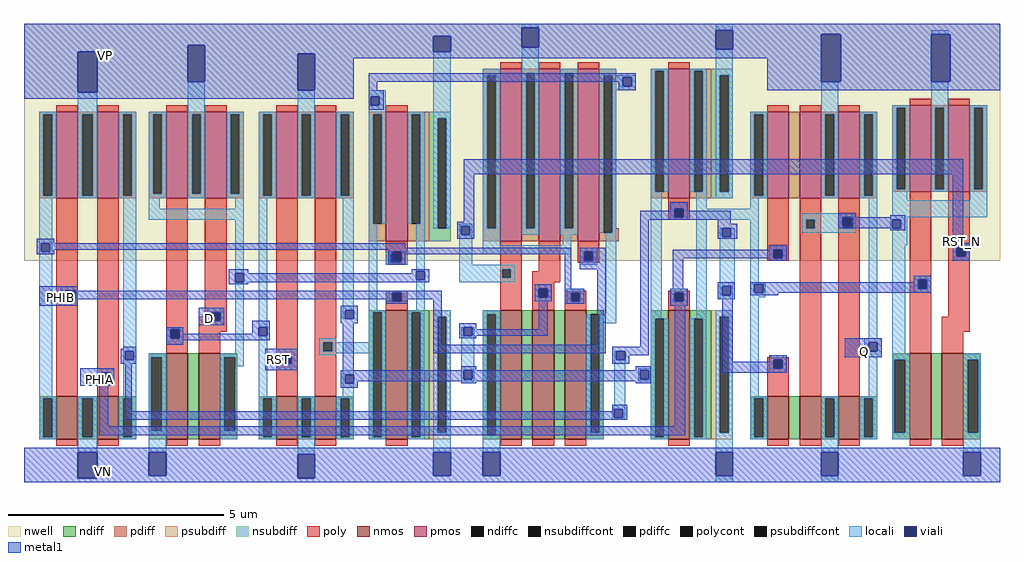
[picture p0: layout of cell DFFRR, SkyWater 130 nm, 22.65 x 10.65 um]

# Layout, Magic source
magic
tech sky130A
<< nwell >>
rect -500 215 1765 765
<< nmos >>
rect -425 -200 -375 -100
rect -330 -200 -280 -100
rect -170 -200 -120 0
rect -95 -200 -45 0
rect 85 -200 135 -100
rect 175 -200 225 -100
rect 340 -200 390 100
rect 605 -200 655 100
rect 680 -200 730 100
rect 755 -200 805 100
rect 995 -200 1045 100
rect 1225 -200 1275 -100
rect 1300 -200 1350 -100
rect 1390 -200 1440 -100
rect 1555 -200 1605 0
rect 1630 -200 1680 0
<< pmos >>
rect -425 360 -375 560
rect -330 360 -280 560
rect -170 360 -120 560
rect -80 360 -30 560
rect 85 360 135 560
rect 175 360 225 560
rect 340 260 390 560
rect 605 260 655 660
rect 695 260 745 660
rect 785 260 835 660
rect 995 360 1045 660
rect 1225 360 1275 560
rect 1300 360 1350 560
rect 1390 360 1440 560
rect 1555 375 1605 575
rect 1645 375 1695 575
<< ndiff >>
rect -210 -10 -170 0
rect -465 -105 -425 -100
rect -465 -195 -455 -105
rect -435 -195 -425 -105
rect -465 -200 -425 -195
rect -375 -105 -330 -100
rect -375 -195 -365 -105
rect -340 -195 -330 -105
rect -375 -200 -330 -195
rect -280 -105 -240 -100
rect -280 -195 -270 -105
rect -250 -195 -240 -105
rect -280 -200 -240 -195
rect -210 -180 -205 -10
rect -180 -180 -170 -10
rect -210 -200 -170 -180
rect -120 -200 -95 0
rect -45 -10 -5 0
rect -45 -180 -35 -10
rect -10 -180 -5 -10
rect 300 95 340 100
rect -45 -200 -5 -180
rect 45 -105 85 -100
rect 45 -195 55 -105
rect 75 -195 85 -105
rect 45 -200 85 -195
rect 135 -105 175 -100
rect 135 -195 145 -105
rect 165 -195 175 -105
rect 135 -200 175 -195
rect 225 -105 265 -100
rect 225 -195 235 -105
rect 255 -195 265 -105
rect 225 -200 265 -195
rect 300 -195 310 95
rect 330 -195 340 95
rect 300 -200 340 -195
rect 390 95 440 100
rect 390 -195 400 95
rect 420 -195 440 95
rect 390 -200 440 -195
rect 565 90 605 100
rect 565 -190 575 90
rect 595 -190 605 90
rect 565 -200 605 -190
rect 655 -200 680 100
rect 730 -200 755 100
rect 805 90 845 100
rect 805 -185 815 90
rect 835 -185 845 90
rect 805 -200 845 -185
rect 955 80 995 100
rect 955 -195 965 80
rect 985 -195 995 80
rect 955 -200 995 -195
rect 1045 80 1095 100
rect 1045 -195 1055 80
rect 1075 -195 1095 80
rect 1515 -15 1555 0
rect 1045 -200 1095 -195
rect 1185 -105 1225 -100
rect 1185 -195 1195 -105
rect 1215 -195 1225 -105
rect 1185 -200 1225 -195
rect 1275 -200 1300 -100
rect 1350 -105 1390 -100
rect 1350 -195 1360 -105
rect 1380 -195 1390 -105
rect 1350 -200 1390 -195
rect 1440 -105 1480 -100
rect 1440 -195 1450 -105
rect 1470 -195 1480 -105
rect 1440 -200 1480 -195
rect 1515 -185 1520 -15
rect 1545 -185 1555 -15
rect 1515 -200 1555 -185
rect 1605 -200 1630 0
rect 1680 -15 1720 0
rect 1680 -185 1690 -15
rect 1715 -185 1720 -15
rect 1680 -200 1720 -185
<< pdiff >>
rect 565 645 605 660
rect -465 555 -425 560
rect -465 365 -455 555
rect -435 365 -425 555
rect -465 360 -425 365
rect -375 555 -330 560
rect -375 365 -365 555
rect -340 365 -330 555
rect -375 360 -330 365
rect -280 555 -240 560
rect -280 365 -270 555
rect -250 365 -240 555
rect -280 360 -240 365
rect -210 555 -170 560
rect -210 370 -200 555
rect -180 370 -170 555
rect -210 360 -170 370
rect -120 555 -80 560
rect -120 370 -110 555
rect -90 370 -80 555
rect -120 360 -80 370
rect -30 555 10 560
rect -30 370 -20 555
rect 0 370 10 555
rect -30 360 10 370
rect 45 555 85 560
rect 45 365 55 555
rect 75 365 85 555
rect 45 360 85 365
rect 135 555 175 560
rect 135 365 145 555
rect 165 365 175 555
rect 135 360 175 365
rect 225 555 265 560
rect 225 365 235 555
rect 255 365 265 555
rect 225 360 265 365
rect 300 555 340 560
rect 300 300 310 555
rect 330 300 340 555
rect 300 260 340 300
rect 390 555 440 560
rect 390 300 400 555
rect 420 300 440 555
rect 390 260 440 300
rect 565 290 575 645
rect 595 290 605 645
rect 565 260 605 290
rect 655 650 695 660
rect 655 290 665 650
rect 685 290 695 650
rect 655 260 695 290
rect 745 650 785 660
rect 745 290 755 650
rect 775 290 785 650
rect 745 260 785 290
rect 835 645 875 660
rect 835 280 845 645
rect 865 290 875 645
rect 955 655 995 660
rect 955 375 965 655
rect 985 375 995 655
rect 955 360 995 375
rect 1045 655 1095 660
rect 1045 375 1055 655
rect 1075 375 1095 655
rect 1515 570 1555 575
rect 1045 360 1095 375
rect 1185 555 1225 560
rect 1185 365 1195 555
rect 1215 365 1225 555
rect 1185 360 1225 365
rect 1275 360 1300 560
rect 1350 555 1390 560
rect 1350 365 1360 555
rect 1380 365 1390 555
rect 1350 360 1390 365
rect 1440 555 1480 560
rect 1440 365 1450 555
rect 1470 365 1480 555
rect 1515 380 1525 570
rect 1545 380 1555 570
rect 1515 375 1555 380
rect 1605 570 1645 575
rect 1605 380 1615 570
rect 1635 380 1645 570
rect 1605 375 1645 380
rect 1695 570 1735 575
rect 1695 380 1705 570
rect 1725 380 1735 570
rect 1695 375 1735 380
rect 1440 360 1480 365
rect 865 280 880 290
rect 835 260 880 280
<< ndiffc >>
rect -455 -195 -435 -105
rect -365 -195 -340 -105
rect -270 -195 -250 -105
rect -205 -180 -180 -10
rect -35 -180 -10 -10
rect 55 -195 75 -105
rect 145 -195 165 -105
rect 235 -195 255 -105
rect 310 -195 330 95
rect 400 -195 420 95
rect 575 -190 595 90
rect 815 -185 835 90
rect 965 -195 985 80
rect 1055 -195 1075 80
rect 1195 -195 1215 -105
rect 1360 -195 1380 -105
rect 1450 -195 1470 -105
rect 1520 -185 1545 -15
rect 1690 -185 1715 -15
<< pdiffc >>
rect -455 365 -435 555
rect -365 365 -340 555
rect -270 365 -250 555
rect -200 370 -180 555
rect -110 370 -90 555
rect -20 370 0 555
rect 55 365 75 555
rect 145 365 165 555
rect 235 365 255 555
rect 310 300 330 555
rect 400 300 420 555
rect 575 290 595 645
rect 665 290 685 650
rect 755 290 775 650
rect 845 280 865 645
rect 965 375 985 655
rect 1055 375 1075 655
rect 1195 365 1215 555
rect 1360 365 1380 555
rect 1450 365 1470 555
rect 1525 380 1545 570
rect 1615 380 1635 570
rect 1705 380 1725 570
<< psubdiff >>
rect 440 85 490 100
rect 440 -185 460 85
rect 480 -185 490 85
rect 440 -200 490 -185
rect 1095 85 1145 100
rect 1095 -185 1115 85
rect 1135 -185 1145 85
rect 1095 -200 1145 -185
<< nsubdiff >>
rect 440 545 490 560
rect 440 290 460 545
rect 480 290 490 545
rect 440 260 490 290
rect 1095 645 1145 660
rect 1095 375 1115 645
rect 1135 375 1145 645
rect 1095 360 1145 375
<< psubdiffcont >>
rect 460 -185 480 85
rect 1115 -185 1135 85
<< nsubdiffcont >>
rect 460 290 480 545
rect 1115 375 1135 645
<< poly >>
rect 605 660 655 675
rect 695 660 745 675
rect 785 660 835 675
rect 995 660 1045 675
rect -425 560 -375 575
rect -330 560 -280 575
rect -170 560 -120 575
rect -80 560 -30 575
rect 85 560 135 575
rect 175 560 225 575
rect 340 560 390 575
rect -425 145 -375 360
rect -425 120 -405 145
rect -380 120 -375 145
rect -425 -100 -375 120
rect -330 -45 -280 360
rect -170 55 -120 360
rect -80 95 -30 360
rect -80 85 -65 95
rect -170 35 -160 55
rect -140 35 -120 55
rect -170 0 -120 35
rect -95 75 -65 85
rect -45 75 -30 95
rect -95 50 -30 75
rect -95 0 -45 50
rect -330 -66 -319 -45
rect -299 -66 -280 -45
rect -330 -100 -280 -66
rect 85 -5 135 360
rect 85 -25 100 -5
rect 120 -25 135 -5
rect 85 -100 135 -25
rect 175 25 225 360
rect 1555 575 1605 590
rect 1645 575 1695 590
rect 1225 560 1275 575
rect 1300 560 1350 575
rect 1390 560 1440 575
rect 995 335 1045 360
rect 995 315 1010 335
rect 1030 315 1045 335
rect 995 310 1045 315
rect 340 230 390 260
rect 340 210 350 230
rect 375 210 390 230
rect 340 205 390 210
rect 605 195 655 260
rect 605 175 610 195
rect 630 175 655 195
rect 695 190 745 260
rect 785 235 835 260
rect 785 215 800 235
rect 820 215 835 235
rect 1225 240 1275 360
rect 1225 220 1240 240
rect 1260 220 1275 240
rect 1225 215 1275 220
rect 1300 310 1350 360
rect 1300 290 1315 310
rect 1335 290 1350 310
rect 785 210 835 215
rect 340 140 390 145
rect 340 120 355 140
rect 375 120 390 140
rect 340 100 390 120
rect 605 100 655 175
rect 680 165 745 190
rect 680 150 730 165
rect 680 130 695 150
rect 715 130 730 150
rect 680 100 730 130
rect 755 140 805 145
rect 755 120 770 140
rect 790 120 805 140
rect 755 100 805 120
rect 995 140 1045 145
rect 995 120 1010 140
rect 1030 120 1045 140
rect 995 100 1045 120
rect 175 5 195 25
rect 215 5 225 25
rect 175 -100 225 5
rect 1225 -15 1275 -10
rect 1225 -35 1240 -15
rect 1260 -35 1275 -15
rect 1225 -100 1275 -35
rect 1300 -100 1350 290
rect 1390 315 1440 360
rect 1390 290 1400 315
rect 1425 290 1440 315
rect 1390 -100 1440 290
rect 1555 170 1605 375
rect 1555 150 1575 170
rect 1595 150 1605 170
rect 1555 0 1605 150
rect 1645 245 1695 375
rect 1645 225 1665 245
rect 1685 225 1695 245
rect 1645 85 1695 225
rect 1630 50 1695 85
rect 1630 0 1680 50
rect -425 -215 -375 -200
rect -330 -215 -280 -200
rect -170 -215 -120 -200
rect -95 -215 -45 -200
rect 85 -215 135 -200
rect 175 -215 225 -200
rect 340 -215 390 -200
rect 605 -215 655 -200
rect 680 -215 730 -200
rect 755 -215 805 -200
rect 995 -215 1045 -200
rect 1225 -215 1275 -200
rect 1300 -215 1350 -200
rect 1390 -215 1440 -200
rect 1555 -215 1605 -200
rect 1630 -215 1680 -200
<< polycont >>
rect -405 120 -380 145
rect -160 35 -140 55
rect -65 75 -45 95
rect -319 -66 -299 -45
rect 100 -25 120 -5
rect 1010 315 1030 335
rect 350 210 375 230
rect 610 175 630 195
rect 800 215 820 235
rect 1240 220 1260 240
rect 1315 290 1335 310
rect 355 120 375 140
rect 695 130 715 150
rect 770 120 790 140
rect 1010 120 1030 140
rect 195 5 215 25
rect 1240 -35 1260 -15
rect 1400 290 1425 315
rect 1575 150 1595 170
rect 1665 225 1685 245
<< locali >>
rect 655 755 695 765
rect -465 555 -425 560
rect -465 365 -455 555
rect -435 365 -425 555
rect -465 360 -425 365
rect -375 555 -330 605
rect -375 365 -365 555
rect -340 365 -330 555
rect -375 360 -330 365
rect -280 555 -240 560
rect -280 365 -270 555
rect -250 365 -240 555
rect -280 360 -240 365
rect -465 255 -435 360
rect -465 235 -460 255
rect -440 235 -435 255
rect -465 -100 -435 235
rect -415 145 -375 155
rect -415 120 -405 145
rect -380 120 -375 145
rect -415 110 -375 120
rect -270 5 -240 360
rect -210 555 -170 560
rect -210 370 -200 555
rect -180 370 -170 555
rect -210 360 -170 370
rect -120 555 -80 630
rect -120 370 -110 555
rect -90 370 -80 555
rect -120 360 -80 370
rect -30 555 10 560
rect -30 370 -20 555
rect 0 370 10 555
rect -30 360 10 370
rect -210 335 -185 360
rect -10 335 10 360
rect -210 310 10 335
rect -10 185 10 310
rect -75 95 -35 105
rect -75 75 -65 95
rect -45 75 -35 95
rect -75 65 -35 75
rect -170 55 -130 60
rect -170 35 -160 55
rect -140 35 -130 55
rect -170 20 -130 35
rect -270 -15 -265 5
rect -245 -15 -240 5
rect -10 0 10 165
rect -330 -45 -290 -35
rect -330 -65 -320 -45
rect -330 -66 -319 -65
rect -299 -66 -290 -45
rect -330 -75 -290 -66
rect -270 -100 -240 -15
rect -465 -105 -425 -100
rect -465 -195 -455 -105
rect -435 -195 -425 -105
rect -465 -200 -425 -195
rect -375 -105 -330 -100
rect -375 -195 -365 -105
rect -340 -195 -330 -105
rect -375 -230 -330 -195
rect -280 -105 -240 -100
rect -280 -195 -270 -105
rect -250 -195 -240 -105
rect -280 -200 -240 -195
rect -210 -10 -170 0
rect -210 -180 -205 -10
rect -180 -180 -170 -10
rect -210 -230 -170 -180
rect -45 -10 10 0
rect -45 -180 -35 -10
rect -10 -30 10 -10
rect 45 555 85 560
rect 45 365 55 555
rect 75 365 85 555
rect 45 360 85 365
rect 135 555 175 610
rect 300 595 340 610
rect 300 575 305 595
rect 325 575 340 595
rect 135 365 145 555
rect 165 365 175 555
rect 135 360 175 365
rect 225 555 265 560
rect 225 365 235 555
rect 255 365 265 555
rect 225 360 265 365
rect 45 60 65 360
rect 240 100 265 360
rect 240 80 245 100
rect 300 555 340 575
rect 300 300 310 555
rect 330 300 340 555
rect 390 555 430 560
rect 390 300 400 555
rect 420 300 430 555
rect 300 100 320 300
rect 340 230 355 235
rect 340 210 350 230
rect 375 210 390 235
rect 340 205 390 210
rect 410 190 430 300
rect 450 545 490 700
rect 450 290 460 545
rect 480 290 490 545
rect 565 645 605 660
rect 510 295 540 300
rect 340 140 390 145
rect 340 120 355 140
rect 375 120 390 140
rect 410 100 430 170
rect 510 275 515 295
rect 535 275 540 295
rect 510 205 540 275
rect 565 290 575 645
rect 595 290 605 645
rect 565 250 605 290
rect 655 650 695 710
rect 1105 750 1145 765
rect 1605 740 1645 750
rect 655 290 665 650
rect 685 290 695 650
rect 655 275 695 290
rect 745 650 785 660
rect 745 290 755 650
rect 775 290 785 650
rect 745 275 785 290
rect 835 645 875 660
rect 955 655 995 660
rect 835 280 845 645
rect 865 640 920 645
rect 865 620 890 640
rect 910 620 920 640
rect 865 610 920 620
rect 865 280 875 610
rect 750 250 770 275
rect 565 230 770 250
rect 790 235 830 245
rect 790 215 800 235
rect 820 215 830 235
rect 790 205 830 215
rect 510 195 640 205
rect 510 175 610 195
rect 630 175 640 195
rect 510 165 640 175
rect 685 150 725 160
rect 685 130 695 150
rect 715 130 725 150
rect 685 120 725 130
rect 760 140 800 150
rect 760 120 770 140
rect 790 120 800 140
rect 760 115 800 120
rect 300 95 340 100
rect -10 -180 -5 -30
rect -45 -200 -5 -180
rect 45 -100 65 40
rect 185 25 225 35
rect 300 25 310 95
rect 85 -5 135 10
rect 185 5 195 25
rect 215 5 310 25
rect 185 0 310 5
rect 185 -5 225 0
rect 85 -25 100 -5
rect 120 -25 135 -5
rect 85 -40 135 -25
rect 240 -50 265 -40
rect 240 -70 245 -50
rect 240 -100 265 -70
rect 45 -105 85 -100
rect 45 -195 55 -105
rect 75 -195 85 -105
rect 45 -200 85 -195
rect 135 -105 175 -100
rect 135 -195 145 -105
rect 165 -195 175 -105
rect 135 -235 175 -195
rect 225 -105 265 -100
rect 225 -195 235 -105
rect 255 -195 265 -105
rect 225 -200 265 -195
rect 300 -195 310 0
rect 330 -195 340 95
rect 300 -200 340 -195
rect 390 95 430 100
rect 390 -195 400 95
rect 420 -195 430 95
rect 390 -200 430 -195
rect 450 85 490 100
rect 450 -185 460 85
rect 480 -185 490 85
rect 565 90 605 100
rect 850 90 875 280
rect 515 40 520 60
rect 540 40 545 60
rect 515 -40 545 40
rect 515 -60 520 -40
rect 540 -60 545 -40
rect 515 -65 545 -60
rect 450 -230 490 -185
rect 565 -190 575 90
rect 595 -190 605 90
rect 565 -230 605 -190
rect 805 -185 815 90
rect 835 70 875 90
rect 955 375 965 655
rect 985 375 995 655
rect 1045 655 1085 660
rect 1045 375 1055 655
rect 1075 375 1085 655
rect 955 80 980 375
rect 1000 335 1040 350
rect 1000 315 1010 335
rect 1030 315 1040 335
rect 1000 310 1040 315
rect 1060 335 1085 375
rect 1105 645 1145 705
rect 1105 375 1115 645
rect 1135 375 1145 645
rect 1105 360 1145 375
rect 1185 555 1225 560
rect 1185 365 1195 555
rect 1215 365 1225 555
rect 1185 360 1225 365
rect 1350 555 1390 630
rect 1515 570 1555 575
rect 1350 365 1360 555
rect 1380 365 1390 555
rect 1350 360 1390 365
rect 1440 555 1480 560
rect 1440 365 1450 555
rect 1470 365 1480 555
rect 1440 360 1480 365
rect 1185 335 1205 360
rect 1060 310 1205 335
rect 1000 140 1040 150
rect 1000 120 1010 140
rect 1030 120 1040 140
rect 1000 110 1040 120
rect 1060 80 1085 310
rect 1115 270 1120 290
rect 1140 270 1150 290
rect 1115 160 1150 270
rect 1185 165 1205 310
rect 1305 315 1430 325
rect 1305 310 1400 315
rect 1305 290 1315 310
rect 1335 290 1400 310
rect 1425 290 1430 315
rect 1305 280 1430 290
rect 1230 240 1270 250
rect 1230 220 1240 240
rect 1260 220 1270 240
rect 1230 215 1270 220
rect 1185 160 1220 165
rect 1115 155 1145 160
rect 1115 135 1120 155
rect 1140 135 1145 155
rect 1115 125 1145 135
rect 1185 140 1195 160
rect 1215 140 1220 160
rect 1185 130 1220 140
rect 835 -185 845 70
rect 870 -15 875 5
rect 870 -125 895 -15
rect 955 -35 965 80
rect 925 -40 965 -35
rect 925 -60 930 -40
rect 950 -60 965 -40
rect 925 -65 965 -60
rect 865 -130 895 -125
rect 865 -150 870 -130
rect 890 -150 895 -130
rect 865 -155 895 -150
rect 805 -200 845 -185
rect 955 -195 965 -65
rect 985 -195 995 80
rect 955 -200 995 -195
rect 1045 -195 1055 80
rect 1075 -195 1085 80
rect 1045 -200 1085 -195
rect 1105 85 1145 100
rect 1105 -185 1115 85
rect 1135 -185 1145 85
rect 1105 -230 1145 -185
rect 1185 -100 1205 130
rect 1460 35 1480 360
rect 1515 380 1525 570
rect 1545 380 1555 570
rect 1515 375 1555 380
rect 1605 570 1645 630
rect 1605 380 1615 570
rect 1635 380 1645 570
rect 1605 375 1645 380
rect 1695 570 1735 575
rect 1695 380 1705 570
rect 1725 380 1735 570
rect 1515 355 1550 375
rect 1695 355 1735 380
rect 1515 320 1735 355
rect 1510 315 1735 320
rect 1510 310 1550 315
rect 1510 290 1515 310
rect 1535 290 1550 310
rect 1510 285 1550 290
rect 1515 250 1550 285
rect 1450 25 1490 35
rect 1450 5 1460 25
rect 1480 5 1490 25
rect 1230 -15 1270 -5
rect 1450 -10 1490 5
rect 1515 0 1545 250
rect 1655 245 1695 255
rect 1655 225 1665 245
rect 1685 225 1695 245
rect 1655 215 1695 225
rect 1565 170 1605 180
rect 1565 150 1575 170
rect 1595 150 1605 170
rect 1565 140 1605 150
rect 1230 -35 1240 -15
rect 1260 -35 1270 -15
rect 1230 -45 1270 -35
rect 1460 -100 1480 -10
rect 1185 -105 1225 -100
rect 1185 -195 1195 -105
rect 1215 -195 1225 -105
rect 1185 -200 1225 -195
rect 1350 -105 1390 -100
rect 1350 -195 1360 -105
rect 1380 -195 1390 -105
rect 1105 -300 1145 -285
rect 1350 -230 1390 -195
rect 1440 -105 1480 -100
rect 1440 -195 1450 -105
rect 1470 -195 1480 -105
rect 1440 -200 1480 -195
rect 1515 -15 1555 0
rect 1515 -185 1520 -15
rect 1545 -185 1555 -15
rect 1515 -200 1555 -185
rect 1680 -15 1720 0
rect 1680 -185 1690 -15
rect 1715 -185 1720 -15
rect 1680 -230 1720 -185
rect 1350 -300 1390 -285
<< viali >>
rect -375 605 -330 700
rect -120 630 -80 715
rect 450 700 490 735
rect -460 235 -440 255
rect -405 120 -380 145
rect 135 610 175 695
rect -10 165 10 185
rect -65 75 -45 95
rect -160 35 -140 55
rect -265 -15 -245 5
rect -320 -65 -319 -45
rect -319 -65 -300 -45
rect -375 -290 -330 -230
rect 305 575 325 595
rect 245 80 265 100
rect 355 230 375 235
rect 355 215 375 230
rect 655 710 695 755
rect 410 170 430 190
rect 355 120 375 140
rect 515 275 535 295
rect 1105 705 1145 750
rect 890 620 910 640
rect 800 215 820 235
rect 695 130 715 150
rect 770 120 790 140
rect 45 40 65 60
rect 100 -25 120 -5
rect 245 -70 265 -50
rect -210 -285 -170 -230
rect 520 40 540 60
rect 520 -60 540 -40
rect 135 -290 175 -235
rect 450 -285 490 -230
rect 1010 315 1030 335
rect 1350 630 1395 740
rect 1605 630 1650 740
rect 1010 120 1030 140
rect 1120 270 1140 290
rect 1400 295 1420 315
rect 1240 220 1260 240
rect 1120 135 1140 155
rect 1195 140 1215 160
rect 875 -15 895 5
rect 930 -60 950 -40
rect 870 -150 890 -130
rect 565 -285 605 -230
rect 1515 290 1535 310
rect 1460 5 1480 25
rect 1665 225 1685 245
rect 1575 150 1595 170
rect 1240 -35 1260 -15
rect 1105 -285 1145 -230
rect 1350 -285 1390 -230
rect 1680 -285 1720 -230
<< metal1 >>
rect -500 755 1765 765
rect -500 735 655 755
rect -500 715 450 735
rect -500 700 -120 715
rect -500 605 -375 700
rect -330 630 -120 700
rect -80 700 450 715
rect 490 710 655 735
rect 695 750 1765 755
rect 695 710 1105 750
rect 490 705 1105 710
rect 1145 740 1765 750
rect 1145 705 1350 740
rect 490 700 1350 705
rect -80 695 1350 700
rect -80 630 135 695
rect -330 610 135 630
rect 175 685 1350 695
rect 175 610 265 685
rect -330 605 265 610
rect -500 590 265 605
rect 300 640 920 650
rect 300 630 890 640
rect 300 610 320 630
rect 880 620 890 630
rect 910 620 920 640
rect 880 610 920 620
rect 1225 630 1350 685
rect 1395 630 1605 740
rect 1650 630 1765 740
rect 1225 610 1765 630
rect 300 595 335 610
rect 300 575 305 595
rect 325 575 335 595
rect 300 565 335 575
rect 520 415 1680 450
rect 520 305 545 415
rect 1000 335 1040 350
rect 1000 330 1010 335
rect 505 295 545 305
rect 505 275 515 295
rect 535 275 545 295
rect 505 265 545 275
rect 930 315 1010 330
rect 1030 330 1040 335
rect 1030 315 1140 330
rect 930 310 1140 315
rect -470 255 -430 265
rect -470 235 -460 255
rect -440 245 385 255
rect -440 240 770 245
rect -440 235 -430 240
rect -470 230 -430 235
rect 345 235 770 240
rect 345 215 355 235
rect 375 230 770 235
rect 375 215 385 230
rect 345 205 385 215
rect -25 185 20 195
rect 400 190 440 195
rect 400 185 410 190
rect -25 165 -10 185
rect 10 170 410 185
rect 430 170 440 190
rect 10 165 440 170
rect -25 160 20 165
rect -465 145 -375 155
rect 685 150 725 160
rect -465 120 -405 145
rect -380 140 470 145
rect -380 125 355 140
rect -380 120 -375 125
rect -465 110 -375 120
rect 340 120 355 125
rect 375 125 470 140
rect 375 120 390 125
rect 340 115 390 120
rect -95 95 -35 105
rect -95 75 -65 95
rect -45 75 -35 95
rect 235 100 275 110
rect 235 80 245 100
rect 265 80 275 100
rect -95 65 -35 75
rect 30 60 70 75
rect 235 70 275 80
rect -170 55 -130 60
rect -170 35 -160 55
rect -140 45 -130 55
rect 30 45 45 60
rect -140 40 45 45
rect 65 40 70 60
rect -140 35 70 40
rect -170 30 70 35
rect -170 20 -130 30
rect -270 10 -240 15
rect -275 5 -240 10
rect -275 -15 -265 5
rect -245 -15 -240 5
rect -275 -25 -240 -15
rect 60 -5 135 10
rect 60 -25 100 -5
rect 120 -25 135 -5
rect -370 -45 -290 -35
rect -370 -65 -320 -45
rect -300 -65 -290 -45
rect -370 -75 -290 -65
rect -325 -170 -305 -75
rect -265 -135 -250 -25
rect 60 -40 135 -25
rect 240 -40 265 70
rect 450 20 470 125
rect 685 130 695 150
rect 715 130 725 150
rect 685 120 725 130
rect 755 150 770 230
rect 790 235 850 245
rect 790 215 800 235
rect 820 215 850 235
rect 790 195 850 215
rect 755 140 800 150
rect 755 120 770 140
rect 790 120 800 140
rect 510 60 550 70
rect 510 40 520 60
rect 540 55 550 60
rect 695 55 715 120
rect 755 115 800 120
rect 540 40 715 55
rect 510 35 550 40
rect 830 20 850 195
rect 450 0 850 20
rect 930 15 950 310
rect 1110 300 1140 310
rect 1390 315 1430 325
rect 1510 315 1545 320
rect 1110 290 1155 300
rect 1390 295 1400 315
rect 1420 310 1545 315
rect 1420 295 1515 310
rect 1390 290 1515 295
rect 1535 290 1545 310
rect 1110 270 1120 290
rect 1140 270 1155 290
rect 1510 285 1545 290
rect 1110 265 1155 270
rect 1655 255 1680 415
rect 1230 240 1270 250
rect 1005 220 1240 240
rect 1260 220 1270 240
rect 1005 150 1030 220
rect 1230 215 1270 220
rect 1655 245 1695 255
rect 1655 225 1665 245
rect 1685 225 1695 245
rect 1655 215 1695 225
rect 1565 170 1605 180
rect 1565 165 1575 170
rect 1110 155 1150 165
rect 1000 140 1040 150
rect 1000 120 1010 140
rect 1030 120 1040 140
rect 1110 135 1120 155
rect 1140 135 1150 155
rect 1185 160 1575 165
rect 1185 140 1195 160
rect 1215 150 1575 160
rect 1595 150 1605 170
rect 1215 140 1605 150
rect 1185 135 1250 140
rect 1110 125 1150 135
rect 1000 110 1040 120
rect 865 5 950 15
rect 865 -15 875 5
rect 895 -5 950 5
rect 895 -15 905 -5
rect 865 -25 905 -15
rect 515 -40 550 -30
rect 920 -40 955 -30
rect 235 -50 520 -40
rect 235 -70 245 -50
rect 265 -60 520 -50
rect 540 -60 930 -40
rect 950 -60 955 -40
rect 265 -65 955 -60
rect 265 -70 275 -65
rect 515 -70 550 -65
rect 920 -70 955 -65
rect 235 -80 275 -70
rect 865 -130 900 -120
rect 865 -135 870 -130
rect -265 -150 870 -135
rect 890 -150 900 -130
rect -265 -155 900 -150
rect 1010 -170 1035 110
rect 1120 -20 1145 125
rect 1405 25 1490 35
rect 1405 5 1460 25
rect 1480 5 1490 25
rect 1230 -15 1270 -5
rect 1405 -10 1490 5
rect 1230 -20 1240 -15
rect 1120 -35 1240 -20
rect 1260 -35 1270 -15
rect 1120 -45 1270 -35
rect -325 -190 1035 -170
rect -500 -230 1765 -220
rect -500 -290 -375 -230
rect -330 -285 -210 -230
rect -170 -235 450 -230
rect -170 -285 135 -235
rect -330 -290 135 -285
rect 175 -285 450 -235
rect 490 -285 565 -230
rect 605 -285 1105 -230
rect 1145 -285 1350 -230
rect 1390 -285 1680 -230
rect 1720 -285 1765 -230
rect 175 -290 1765 -285
rect -500 -300 1765 -290
<< labels >>
flabel metal1 1450 5 1450 5 1 FreeSans 200 0 0 0 Q
port 4 n
flabel metal1 1675 260 1675 260 1 FreeSans 200 0 0 0 RST_N
port 5 n
flabel metal1 -315 -275 -315 -275 1 FreeSans 400 0 0 0 VN
port 8 n
flabel metal1 -310 690 -310 690 1 FreeSans 400 0 0 0 VP
port 7 n
flabel metal1 -415 130 -415 130 1 FreeSans 200 0 0 0 PHIB
port 2 n
flabel metal1 -325 -60 -325 -60 1 FreeSans 200 0 0 0 PHIA
port 1 n
flabel metal1 -70 80 -70 80 1 FreeSans 200 0 0 0 D
port 3 n
flabel metal1 90 -15 90 -15 1 FreeSans 200 0 0 0 RST
port 6 n
<< end >>
